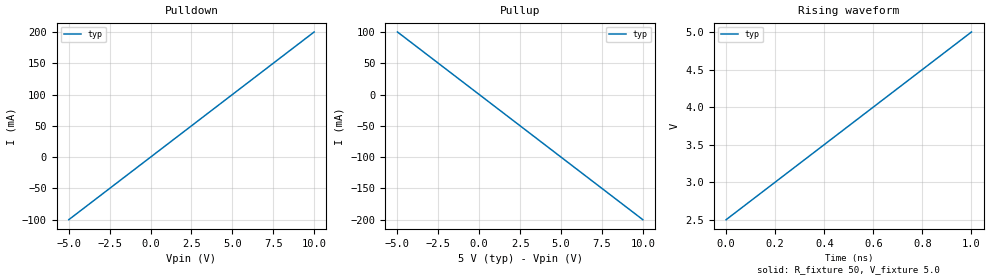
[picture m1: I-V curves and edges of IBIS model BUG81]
[IBIS ver]   3.2
[File name]   bug81.ibs
[File Rev]   0
[Date]   11/5/2003
[Source]   Bob Ross
[Copyright]   None
|   Component bug81
[Component]   bug81
[Manufacturer]  None
[Package]
| variable   typ   min   max
R_pkg   0.0m   0.0m   0.0m
L_pkg   5.0nH   5.0nH   5.0nH
C_pkg   2.0pF   2.0pF   2.0pf
[Pin]  signal_name   model_name   R_pin   L_pin   C_pin
1   Output   BUG81
| Models and submodels in the file (1): BUG81 (Output)
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|   Model BUG81
[Model]   BUG81
Model_type   Output
Vmeas = 1.5V
Cref  = 12.5pF
Rref  = 1Mohms
Vref  = 0V
C_comp   5pF   NA   NA
[Voltage Range]   5V   5V	5V
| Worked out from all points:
|   slope of the pulldown table from 0 to 0.75 V, typ, clamps not added: 50 ohm
|   slope of the pullup table from 0 to 0.75 V, typ, clamps not added: 50 ohm
|   rising waveform, R_fixture 50, V_fixture 5.0: 20-80 % time 600ps typ, NA min, NA max; typ from 2.5 V to 5 V
[Pulldown]
| voltage   I(typ)   I(min)   I(max)
-5V       -100mA     NA         NA
-1uV      0A         NA         NA
0V        0A         NA         NA
10V       200mA      NA         NA
[Pullup]
| voltage   I(typ)   I(min)   I(max)
-5V       100mA      NA         NA
10V       -200mA     NA         NA
[Ramp]
| variable   typ   min   max
dV/dt_r   1.5/0.6n   NA NA
dV/dt_f   1.5/0.6n   NA NA
R_load = 50
[Rising Waveform]
R_fixture = 50
V_fixture = 5.0
| time   V(typ)   V(min)   V(max)
0s        2.5V       NA         NA
1ns       5V         NA         NA
